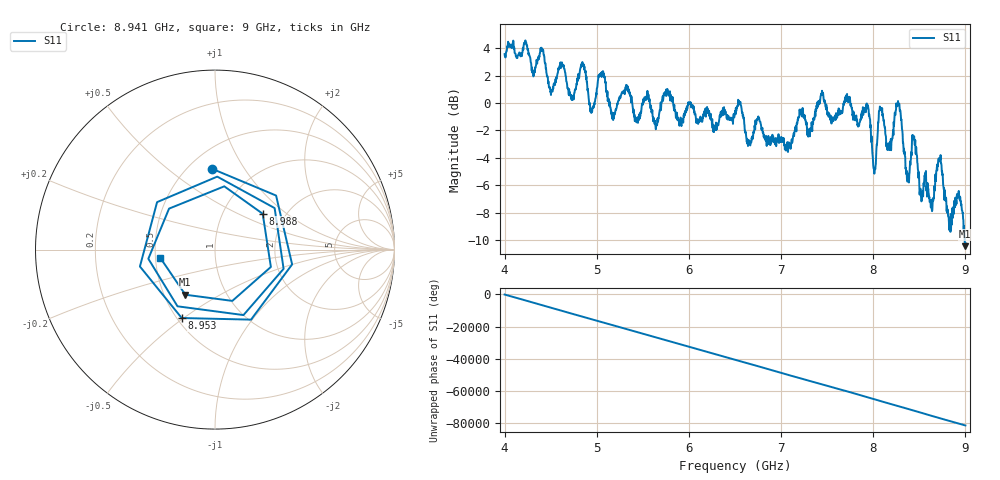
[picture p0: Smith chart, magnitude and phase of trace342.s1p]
! Created with skrf 1.8.0 (http://scikit-rf.org).
# Hz S RI R 50.0
!freq ReS11 ImS11
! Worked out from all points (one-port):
!   1601 points, 4 GHz to 9 GHz, reference 50 ohm
!   lowest |S11| = -10.4 dB at 8.997 GHz (marker M1), VSWR 1.86, Z = 32 - j17.7 ohm
!   |S11| at or under -10 dB: 8.992175 GHz to end of sweep
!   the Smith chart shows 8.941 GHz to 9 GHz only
!   S11 on the Smith chart (normalised r, x): 8.941 GHz: 0.64, +0.73; 8.953 GHz: 0.53, -0.49; 8.988 GHz: 1.54, +0.69; 9 GHz: 0.53, -0.05
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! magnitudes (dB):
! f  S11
! 4 GHz  3.6
! 4.406 GHz  4.0
! 4.506 GHz  1.0
! 4.625 GHz  2.9
! 4.853 GHz  2.7
! 4.944 GHz  -0.6
! 5.05 GHz  2.2
! 5.25 GHz  0.5
! 5.875 GHz  -1.2
! 6.5 GHz  -0.8
! 7.125 GHz  -2.7
! 7.75 GHz  0.1
! 7.938 GHz  -0.4
! 8.012 GHz  -5.1
! 8.078 GHz  -0.5
! 8.172 GHz  -3.2
! 8.272 GHz  -0.1
! 8.375 GHz  -5.1
! 8.444 GHz  -2.4
! 8.525 GHz  -7.1
! 8.638 GHz  -7.9
! 8.716 GHz  -4.3
! 8.828 GHz  -8.4
! 8.941 GHz  -6.9
! 8.953 GHz  -7.5
! 8.988 GHz  -9.6
! 8.997 GHz  -10.4
! 9 GHz  -10.2
